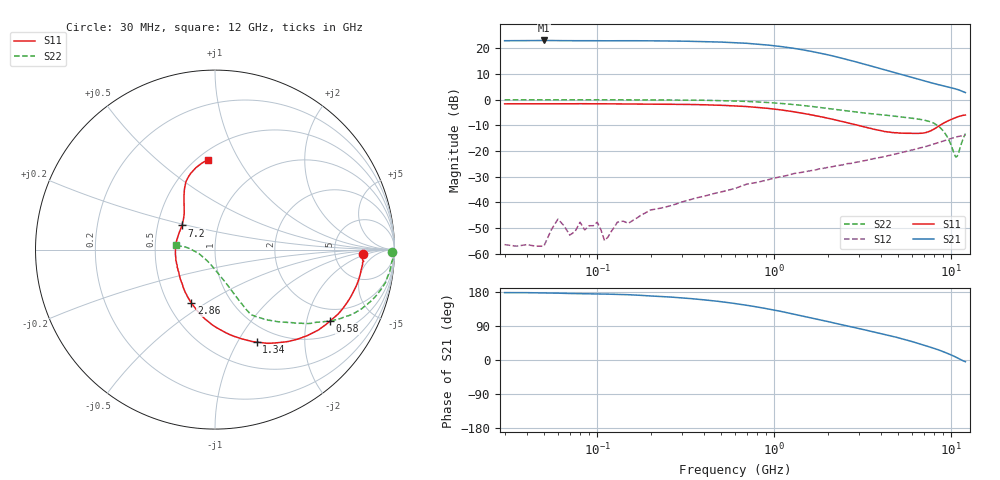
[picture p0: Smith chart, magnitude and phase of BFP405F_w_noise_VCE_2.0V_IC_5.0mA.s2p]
! Infineon Technologies  Discrete & RF Semiconductors
! BFP405F
! VCE =  2.0 V,  IC =  5.0 mA
! Common Emitter S-Parameters:  Nov 2015
# GHz  S  MA  R  50
!  f  S11  S21  S12  S22
! GHz  MAG  ANG  MAG  ANG  MAG  ANG  MAG  ANG
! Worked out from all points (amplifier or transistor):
!   239 points, 30 MHz to 12 GHz, reference 50 ohm
!   highest |S21| = 23.0 dB at 50 MHz (marker M1)
!   |S21| within 3 dB of that: start of sweep to 1.271 GHz
!   unconditionally stable (mu >= 1): 2.906 GHz to end of sweep
!   at 300 MHz: K = 0.04, MSG = 31.3 dB, |S12| = -39.9 dB
!   at 1.88 GHz: K = 0.68, MSG = 22.3 dB, |S12| = -26.8 dB
!   at 12 GHz: K = 1.46, MAG = 4.3 dB, |S12| = -13.9 dB
!   lowest NFmin = 1.29 dB at 450 MHz
!   S11 on the Smith chart (normalised r, x): 30 MHz: 10, -1; 580 MHz: 1.50, -2.78; 1.34 GHz: 0.80, -1.21; 2.86 GHz: 0.65, -0.43; 7.2 GHz: 0.67, +0.19; 12 GHz: 0.57, +0.75
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0.03  0.8251 -1.6  13.96 177.8  0.0015 132.4  0.9881 -0.7
0.05  0.8223 -3.3  14.12 176.8  0.0014 121.3  0.9874 -1.4
0.06  0.8255 -3.5  13.99 176.4  0.0047 79.9  0.9928 -1.6
0.07  0.8238 -4.0  14 175.5  0.0023 92.2  0.9938 -1.8
0.085  0.8283 -4.7  13.96 175.0  0.0029 124.8  0.9923 -2.2
0.1  0.8269 -5.6  13.93 174.5  0.0041 127.7  0.9892 -2.9
0.11  0.8257 -6.3  13.92 173.9  0.0018 113.3  0.9911 -3.0
0.15  0.822 -8.7  13.96 172.3  0.0039 98.5  0.9874 -4.0
0.24  0.8145 -13.6  13.8 167.1  0.008 86.0  0.9826 -6.5
0.4  0.7914 -22.4  13.47 158.8  0.0131 78.3  0.9688 -10.7
0.58  0.7552 -31.8  12.84 150.0  0.0181 78.8  0.94 -15.1
0.6  0.7511 -32.9  12.78 149.0  0.0186 78.2  0.9371 -15.6
0.9  0.6789 -47.3  11.59 135.6  0.0269 69.7  0.8798 -22.1
1.34  0.5654 -65.7  9.715 119.4  0.037 64.0  0.788 -29.5
1.64  0.4997 -76.7  8.578 110.6  0.0416 61.7  0.7316 -33.2
2.2  0.4022 -95.5  6.889 97.1  0.0508 57.8  0.6449 -39.7
2.86  0.3252 -113.9  5.465 85.3  0.0596 55.3  0.5746 -45.0
4.5  0.2323 -154.9  3.547 64.2  0.082 51.5  0.4861 -53.4
7.2  0.2283 143.9  2.254 37.3  0.1223 44.3  0.3893 -61.9
9  0.3449 120.1  1.845 21.9  0.1556 37.3  0.2445 -67.8
10.6  0.4466 107.5  1.603 7.5  0.1859 28.3  0.0757 -126.6
12  0.4994 94.5  1.367 -4.5  0.2025 20.8  0.2173 173.8
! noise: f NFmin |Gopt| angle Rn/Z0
0.45  1.29  0.38  5  0.34
0.9  1.3  0.35  13  0.36
1.5  1.37  0.33  18  0.31
1.9  1.4  0.31  25  0.32
2.4  1.56  0.29  33  0.34
3  1.63  0.27  45  0.32
3.5  1.68  0.25  54  0.31
4.5  1.84  0.2  66  0.28
5.5  2.06  0.12  78  0.11
